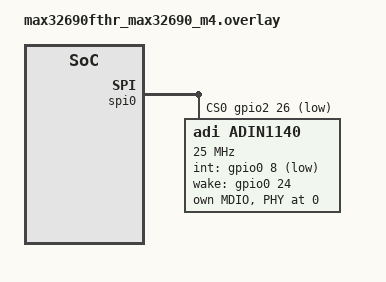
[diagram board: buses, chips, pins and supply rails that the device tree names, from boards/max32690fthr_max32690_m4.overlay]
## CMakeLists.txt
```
# SPDX-License-Identifier: Apache-2.0

cmake_minimum_required(VERSION 3.28.0)

find_package(Zephyr REQUIRED HINTS $ENV{ZEPHYR_BASE})
project(zperf)

target_sources(app PRIVATE
  src/main.c
  )

if(CONFIG_NET_SAMPLE_CODE_RELOCATE)
  # Relocate key networking stack components and L2 layer to RAM
  zephyr_code_relocate(LIBRARY subsys__net__ip
    LOCATION "${CONFIG_NET_SAMPLE_CODE_RAM_NAME}_TEXT" NOKEEP)
  zephyr_code_relocate(LIBRARY subsys__net
    LOCATION "${CONFIG_NET_SAMPLE_CODE_RAM_NAME}_TEXT" NOKEEP)
  if(CONFIG_NET_L2_ETHERNET)
    zephyr_code_relocate(LIBRARY drivers__ethernet
      LOCATION "${CONFIG_NET_SAMPLE_CODE_RAM_NAME}_TEXT" NOKEEP)
    zephyr_code_relocate(LIBRARY subsys__net__l2__ethernet
      LOCATION "${CONFIG_NET_SAMPLE_CODE_RAM_NAME}_TEXT" NOKEEP)
  endif()
endif()

if(CONFIG_USB_DEVICE_STACK_NEXT)
  include(${ZEPHYR_BASE}/samples/subsys/usb/common/common.cmake)
endif()

if(CONFIG_SOC_NRF5340_CPUAPP)
  target_sources(app PRIVATE
    src/nrf5340_cpu_boost.c
    )
endif()
```

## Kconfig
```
# Copyright 2023 NXP
# SPDX-License-Identifier: Apache-2.0

config NET_SAMPLE_CODE_RELOCATE
	bool "Relocate networking code into RAM"
	select CODE_DATA_RELOCATION
	help
	  Relocate networking code into RAM when running the zperf
	  sample. Can improve performance on platforms with fast code
	  RAM.

if NET_SAMPLE_CODE_RELOCATE

config NET_SAMPLE_CODE_RAM_NAME
	string "Networking code RAM location"
	default "RAM"
	help
	  Region to relocate networking code to

endif # NET_SAMPLE_CODE_RELOCATE

if USB_DEVICE_STACK_NEXT

# Source common USB sample options used to initialize new experimental USB
# device stack. The scope of these options is limited to USB samples in project
# tree, you cannot use them in your own application.
source "samples/subsys/usb/common/Kconfig.sample_usbd"

endif

configdefault NRF_WIFI_DATA_HEAP_SIZE
	default 30000 if NRF_WIFI_ZERO_COPY_TX
	default 50000

config ZPERF_LOOPBACK_SELFTEST
	bool "Self-driven loopback throughput run"
	depends on NET_ZPERF && NET_ZPERF_SERVER
	help
	  When enabled, the sample does not wait for shell input. Instead it
	  starts an in-guest UDP and TCP receiver on the loopback interface,
	  runs a client upload against it, and prints machine-parseable
	  throughput results ("ZPERF-RESULT ...") followed by a "ZPERF-DONE"
	  marker. Combined with QEMU icount mode this yields a deterministic,
	  host-speed-independent throughput regression metric.

if ZPERF_LOOPBACK_SELFTEST

config ZPERF_LOOPBACK_SELFTEST_DURATION_MS
	int "Loopback selftest transfer duration (ms)"
	default 1000
	help
	  Duration of each (UDP and TCP) upload run.

config ZPERF_LOOPBACK_SELFTEST_PACKET_SIZE
	int "Loopback selftest packet size (bytes)"
	default 1220
	range 1 16384
	help
	  Payload size used for each upload. Keep it small enough that the IP
	  packet (payload + IP + UDP headers) fits within CONFIG_NET_LOOPBACK_MTU
	  unless IP fragmentation is enabled, and below
	  CONFIG_NET_ZPERF_MAX_PACKET_SIZE. The default of 1220 is the IPv6 TCP
	  MSS at a 1280 byte MTU (1280 - 40 IPv6 - 20 TCP): with it every write
	  is one full-sized segment for both IPv4 and IPv6, so TCP throughput is
	  comparable across families. Larger values (e.g. 1232) still fit the
	  IPv4 MSS but exceed the IPv6 MSS, which splits each IPv6 write into a
	  full segment plus a tiny runt and roughly halves IPv6 TCP throughput.
	  Near-MTU packets also better expose data-touching costs (checksums,
	  buffer walking) than tiny packets.

config ZPERF_LOOPBACK_SELFTEST_FRAG_PACKET_SIZE
	int "Loopback selftest fragmented-run payload size (bytes)"
	default 2000
	range 1 16384
	help
	  Payload size for the extra UDP runs that intentionally exceed
	  CONFIG_NET_LOOPBACK_MTU to exercise IP fragmentation and reassembly.
	  These runs are only performed when CONFIG_NET_IPV4_FRAGMENT /
	  CONFIG_NET_IPV6_FRAGMENT are enabled. Keep it above the MTU (so the
	  datagram actually fragments) and below CONFIG_NET_ZPERF_MAX_PACKET_SIZE.

config ZPERF_LOOPBACK_SELFTEST_RATE_KBPS
	int "Loopback selftest target rate (kbps)"
	default 0
	help
	  Target upload rate in kbps. Use 0 to send as fast as possible (best
	  for measuring the maximum throughput / catching CPU-cost regressions).

config ZPERF_LOOPBACK_SELFTEST_PORT
	int "Loopback selftest server port"
	default 5001

config ZPERF_LOOPBACK_SELFTEST_ONLY
	string "Run only the named transfer"
	default ""
	help
	  Run a single transfer instead of all of them. The value is one of
	  the labels used in the ZPERF-RESULT output: udp4, udp4_frag, tcp4,
	  tcp4_nodelay, udp6, udp6_frag, tcp6 or tcp6_nodelay. An empty
	  value, the default, runs all of them and leaves the throughput
	  scenario unchanged. A value naming no transfer built into the
	  image runs none of them and reports the value as an error result.

	  Profiling the run needs one transfer at a time: a profile collected
	  over all eight blends UDP, TCP, fragmentation and both IP families
	  into an average that is attributable to none of them.

config ZPERF_LOOPBACK_SELFTEST_HALT_ON_DONE
	bool "Halt the machine once the selftest is done"
	help
	  Halt the machine after printing ZPERF-DONE instead of returning
	  from main() and idling forever. On qemu_x86 and qemu_x86_64 this
	  leaves the emulator through the isa-debug-exit device, which matters
	  when an external profiler is attached: QEMU writes an instrumentation
	  report from an atexit handler, and that handler never runs while the
	  guest idles. Whether the halt also ends the emulator on other boards
	  depends on their arch_system_halt().

endif # ZPERF_LOOPBACK_SELFTEST

source "Kconfig.zephyr"
```

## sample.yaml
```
common:
  tags:
    - net
    - zperf
  platform_exclude:
    - sam_e70_xplained/same70q21
  min_ram: 64
sample:
  description: Network performance measurement tool for Zephyr
  name: zperf
tests:
  sample.net.zperf:
    harness: net
    platform_allow: qemu_x86
  sample.net.zperf_no_server:
    harness: net
    platform_allow: qemu_x86
    extra_configs:
      - CONFIG_NET_ZPERF_SERVER=n
  sample.net.zperf.async_tx.stm32:
    filter: dt_compat_enabled("st,stm32-ethernet") and CONFIG_ETH_STM32_HAL_API_V2
    harness: console
    harness_config:
      type: multi_line
      regex:
        - "coming up"
    integration_platforms:
      - stm32h573i_dk
    extra_configs:
      - CONFIG_ETH_STM32_HAL_TX_ASYNC=y
  sample.net.zperf_st:
    harness: console
    harness_config:
      type: multi_line
      regex:
        - "coming up"
    platform_allow:
      - nucleo_h563zi
      - nucleo_h743zi
      - nucleo_h753zi
      - nucleo_f429zi
      - nucleo_f746zg
      - stm32h573i_dk
    integration_platforms:
      - stm32h573i_dk
  sample.net.zperf_st.otp_mac_addr:
    build_only: true
    platform_allow:
      - stm32n6570_dk/stm32n657xx/sb
    extra_args:
      - DTC_OVERLAY_FILE="boards/stm32n6570_dk_stm32n657xx_sb_otp.overlay"
  sample.net.zperf_no_shell:
    harness: net
    extra_configs:
      - CONFIG_NET_SHELL=n
    platform_allow: qemu_x86
  sample.net.zperf_concurrent_upload:
    harness: net
    extra_configs:
      - CONFIG_ZPERF_SESSION_PER_THREAD=y
    platform_allow: qemu_x86
  sample.net.zperf.usbd_cdc_ecm:
    harness: net
    extra_args:
      - EXTRA_CONF_FILE="overlay-usbd.conf"
      - DTC_OVERLAY_FILE="usbd_cdc_ecm.overlay"
    platform_allow:
      - nrf52840dk/nrf52840
      - frdm_k64f
    tags:
      - usb
      - net
      - zperf
    depends_on: usbd
  sample.net.zperf.usbd_cdc_ncm:
    harness: net
    extra_args:
      - EXTRA_CONF_FILE="overlay-usbd.conf"
      - DTC_OVERLAY_FILE="usbd_cdc_ncm.overlay"
    platform_allow:
      - nrf52840dk/nrf52840
      - frdm_k64f
    tags:
      - usb
      - net
      - zperf
    depends_on: usbd
  sample.net.zperf.shield:
    harness: net
    platform_allow: reel_board
    extra_args: SHIELD=link_board_eth
    tags:
      - shield
      - net
      - zperf
    depends_on:
      - arduino_spi
      - arduino_gpio
  sample.net.zperf.nxp_enet1g:
    extra_args: EXTRA_DTC_OVERLAY_FILE="nxp,enet1g.overlay"
    tags:
      - net
      - zperf
    platform_allow:
      - mimxrt1170_evk/mimxrt1176/cm7
  sample.net.zperf.802154.subg:
    extra_args: EXTRA_CONF_FILE="overlay-802154-subg.conf"
    platform_allow:
      - beagleconnect_freedom@C5/cc1352p
      - beagleconnect_freedom@C7/cc1352p7
  sample.net.zperf.nrf7002dk:
    extra_args: SNIPPET=wifi-ipv4
    extra_configs:
      - CONFIG_BUILD_ONLY_NO_BLOBS=y
    platform_allow: nrf7002dk/nrf5340/cpuapp
  sample.net.zperf.raw_tx:
    harness: net
    platform_allow: qemu_x86
    extra_configs:
      - CONFIG_NET_SOCKETS_PACKET=y
      - CONFIG_NET_ZPERF_RAW_TX=y
  sample.net.zperf.raw_tx.nrf7002dk:
    extra_args: SNIPPET=wifi-ipv4
    extra_configs:
      - CONFIG_BUILD_ONLY_NO_BLOBS=y
      - CONFIG_NET_SOCKETS_PACKET=y
      - CONFIG_NET_ZPERF_RAW_TX=y
    platform_allow: nrf7002dk/nrf5340/cpuapp
```

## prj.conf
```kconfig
CONFIG_NETWORKING=y
CONFIG_NET_ZPERF=y
CONFIG_NET_ZPERF_SERVER=y
CONFIG_NET_LOG=y
CONFIG_NET_IPV6=y
CONFIG_NET_IPV4=y
CONFIG_NET_DHCPV4=n
CONFIG_NET_UDP=y
CONFIG_NET_TCP=y
CONFIG_NET_TCP_IPV6_ND_REACHABILITY_HINT=y
CONFIG_NET_STATISTICS=y

CONFIG_NET_PKT_RX_COUNT=40
CONFIG_NET_PKT_TX_COUNT=40
CONFIG_NET_BUF_RX_COUNT=160
CONFIG_NET_BUF_TX_COUNT=160
CONFIG_NET_BUF_DATA_SIZE=256
CONFIG_NET_IF_UNICAST_IPV6_ADDR_COUNT=4
CONFIG_NET_IF_MCAST_IPV6_ADDR_COUNT=5
CONFIG_NET_IF_UNICAST_IPV4_ADDR_COUNT=1
CONFIG_NET_MAX_CONTEXTS=5
CONFIG_NET_TC_TX_COUNT=1
CONFIG_NET_SOCKETS=y
CONFIG_NET_SOCKETS_SERVICE_THREAD_PRIO=-1
CONFIG_ZVFS_POLL_MAX=9

CONFIG_INIT_STACKS=y
CONFIG_TEST_RANDOM_GENERATOR=y

CONFIG_NET_L2_ETHERNET=y
CONFIG_NET_SHELL=y

CONFIG_NET_CONFIG_SETTINGS=y
CONFIG_NET_CONFIG_MY_IPV6_ADDR="2001:db8::1"
CONFIG_NET_CONFIG_PEER_IPV6_ADDR="2001:db8::2"
CONFIG_NET_CONFIG_MY_IPV4_ADDR="192.0.2.1"
CONFIG_NET_CONFIG_PEER_IPV4_ADDR="192.0.2.2"

CONFIG_ETH_DRIVER=y

CONFIG_LOG=y
CONFIG_SHELL_CMDS_RESIZE=n

CONFIG_CACHE_MANAGEMENT=y
CONFIG_SPEED_OPTIMIZATIONS=y
CONFIG_TIMESLICING=n

# For speed optimizations
CONFIG_PICOLIBC_USE_MODULE=y
```

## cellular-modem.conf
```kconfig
# Cellular Modem
CONFIG_NET_L2_PPP=y
CONFIG_MODEM=y
CONFIG_MODEM_CELLULAR=y
```

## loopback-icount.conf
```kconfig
# Deterministic, host-speed-independent zperf throughput measurement.
#
# Layer this on top of loopback.conf, e.g.:
#   -DEXTRA_CONF_FILE="loopback.conf;loopback-icount.conf"
#
# All traffic stays inside the guest (loopback), so QEMU icount mode can be
# safely enabled. In icount mode the virtual CPU advances virtual time by
# 2^SHIFT ns per executed instruction, so the reported throughput becomes a
# deterministic function of instructions-per-byte instead of host wall clock.

# Force QEMU icount on. It is disabled by default when networking + shell are
# enabled, but with loopback-only traffic there is no real host I/O in the
# measurement path.
CONFIG_QEMU_ICOUNT=y
CONFIG_QEMU_ICOUNT_SHIFT=5
CONFIG_QEMU_ICOUNT_SLEEP=n

# icount only works with a single CPU.
CONFIG_MP_MAX_NUM_CPUS=1

# Use a 10 kHz kernel tick for fine-grained packet pacing.
CONFIG_SYS_CLOCK_TICKS_PER_SEC=10000

# Loopback-only: no QEMU SLIP/TAP host networking. This removes the external,
# real-time network backend that would otherwise make icount non-deterministic
# (and require a host-side slip.sock).
CONFIG_NET_QEMU_SLIP=n
CONFIG_NET_SLIP_TAP=n

# Self-driven loopback runner (see src/main.c). Avoids the interactive shell,
# which can stall under icount waiting on real-time stdin.
CONFIG_ZPERF_LOOPBACK_SELFTEST=y

# The results are printed with printk(), which the log subsystem forwards
# through its deferred backend. At the default 1024 byte buffer the qemu_x86_64
# run overflows it during the first IPv4 transfers and LOG_MODE_OVERFLOW drops
# the three oldest messages, which silently swallows the udp4_frag result line -
# the metric simply never appears in the report. Give the buffer enough room for
# the whole run. The measurement is unaffected: the 32 bit numbers are
# bit-identical with the larger buffer.
CONFIG_LOG_BUFFER_SIZE=4096

# The UDP uploader needs a receive timeout to collect the server statistics.
CONFIG_NET_CONTEXT_RCVTIMEO=y

# The zperf receivers register several sockets with the socket service; give
# zvfs_poll() enough slots for the TCP listener plus its sessions.
CONFIG_ZVFS_POLL_MAX=16

# The loopback driver delivers each packet synchronously in the sender's
# context, so the whole receive path (and, for this sample, the blocking client
# upload) runs on the caller's stack. Give the involved threads generous stacks
# to absorb that nesting; otherwise the guest overflows and faults at boot.
CONFIG_MAIN_STACK_SIZE=3072
CONFIG_SYSTEM_WORKQUEUE_STACK_SIZE=2560
CONFIG_NET_RX_STACK_SIZE=2560
CONFIG_NET_TX_STACK_SIZE=2560
CONFIG_NET_MGMT_EVENT_STACK_SIZE=2560
CONFIG_NET_SOCKETS_SERVICE_STACK_SIZE=2560

# Do not try to add IPv4/6 address to network interface but let the system
# use the localhost addresses.
CONFIG_NET_CONFIG_MY_IPV4_ADDR=""
CONFIG_NET_CONFIG_MY_IPV6_ADDR=""

# Disable statistics so that the stats collection will not lower the numbers.
CONFIG_NET_STATISTICS=n

# Push near-MTU-sized frames through the stack so the per-packet cost is
# dominated by data-touching work (checksums, buffer/fragment walking) rather
# than fixed per-call overhead. The selftest sends a 1220 byte payload (see the
# Kconfig default): that is the IPv6 TCP MSS at a 1280 byte MTU (1280 - 40 IPv6
# - 20 TCP), so every TCP write is a single full-sized segment for both IPv4 and
# IPv6 (avoiding a tiny trailing segment that would otherwise halve IPv6 TCP),
# and the UDP datagrams stay under the MTU for both families so no IP
# fragmentation is needed. Raise the loopback L3 MTU accordingly and lift
# zperf's own packet ceiling above the (larger, fragmenting) payload below.
CONFIG_NET_LOOPBACK_MTU=1280
CONFIG_NET_ZPERF_MAX_PACKET_SIZE=2100

# Keep the net_buf data size (1104, from loopback.conf) below the MTU so
# each 1280 byte packet spans two buffer fragments. This deliberately exercises
# the fragment-chain walk in net_pkt_get_len() and friends.

# Exercise the IP fragmentation + reassembly subsystem: the runner adds an extra
# UDP run per family whose payload (see ZPERF_LOOPBACK_SELFTEST_FRAG_PACKET_SIZE)
# exceeds the MTU, so ipv4.c/ipv6.c must fragment on TX and reassemble on RX.
# Loopback normally delivers such a datagram whole without running the IP send
# checks, so NET_LOOPBACK_FRAGMENT is needed for it to be fragmented at all.
CONFIG_NET_IPV4_FRAGMENT=y
CONFIG_NET_IPV6_FRAGMENT=y
CONFIG_NET_LOOPBACK_FRAGMENT=y

# Exercise traffic classes and SO_PRIORITY: with more than one TX/RX queue the
# stack routes prioritised traffic through dedicated per-traffic-class threads
# (net_tc.c) instead of the caller's context. The runner sets a non-default
# priority on every upload so this path is always taken.
CONFIG_NET_TC_TX_COUNT=2
CONFIG_NET_TC_RX_COUNT=2
CONFIG_NET_CONTEXT_PRIORITY=y
CONFIG_NET_ALLOW_ANY_PRIORITY=y
```

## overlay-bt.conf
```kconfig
CONFIG_BT=y
CONFIG_LOG=y
CONFIG_BT_SMP=y
CONFIG_BT_PERIPHERAL=y
CONFIG_BT_CENTRAL=y
CONFIG_BT_L2CAP_DYNAMIC_CHANNEL=y
CONFIG_NET_L2_BT=y
CONFIG_NET_L2_BT_SHELL=y
CONFIG_SHELL_CMDS_RESIZE=n
```

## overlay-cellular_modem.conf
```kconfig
CONFIG_NET_L2_PPP=y

CONFIG_MODEM=y
CONFIG_PM_DEVICE=y
CONFIG_MODEM_CELLULAR=y
```

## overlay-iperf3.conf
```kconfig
# Speak iperf3 instead of iperf2. The zperf commands stay the same, and
# the default port becomes 5201.
CONFIG_NET_ZPERF_IPERF3=y

# An iperf3 test takes a control connection and a data stream on each
# end, on top of the server's listening sockets, and closed connections
# linger in TIME_WAIT for a while after each test.
CONFIG_NET_MAX_CONTEXTS=16
CONFIG_NET_MAX_CONN=16
```

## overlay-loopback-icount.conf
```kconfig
# Deterministic, host-speed-independent zperf throughput measurement.
#
# Layer this on top of overlay-loopback.conf, e.g.:
#   -DEXTRA_CONF_FILE="overlay-loopback.conf;overlay-loopback-icount.conf"
#
# All traffic stays inside the guest (loopback), so QEMU icount mode can be
# safely enabled. In icount mode the virtual CPU advances virtual time by
# 2^SHIFT ns per executed instruction, so the reported throughput becomes a
# deterministic function of instructions-per-byte instead of host wall clock.

# Force QEMU icount on. It is disabled by default when networking + shell are
# enabled, but with loopback-only traffic there is no real host I/O in the
# measurement path.
CONFIG_QEMU_ICOUNT=y
CONFIG_QEMU_ICOUNT_SHIFT=5
CONFIG_QEMU_ICOUNT_SLEEP=n

# icount only works with a single CPU.
CONFIG_MP_MAX_NUM_CPUS=1

# Run the kernel tick at 10 kHz. The default qemu_x86 rate is 100 Hz, which
# (a) compiles in the UDP uploader's clock-compensation path that divides by
# the per-packet duration - a division by zero once the unlimited rate drives
# that duration to 0 - and (b) is far too coarse to pace traffic. A >1 kHz tick
# removes the compensation path and gives fine-grained timing.
CONFIG_SYS_CLOCK_TICKS_PER_SEC=10000

# Loopback-only: no QEMU SLIP/TAP host networking. This removes the external,
# real-time network backend that would otherwise make icount non-deterministic
# (and require a host-side slip.sock).
CONFIG_NET_QEMU_SLIP=n
CONFIG_NET_SLIP_TAP=n

# Self-driven loopback runner (see src/main.c). Avoids the interactive shell,
# which can stall under icount waiting on real-time stdin.
CONFIG_ZPERF_LOOPBACK_SELFTEST=y

# The results are printed with printk(), which the log subsystem forwards
# through its deferred backend. At the default 1024 byte buffer the qemu_x86_64
# run overflows it during the first IPv4 transfers and LOG_MODE_OVERFLOW drops
# the three oldest messages, which silently swallows the udp4_frag result line -
# the metric simply never appears in the report. Give the buffer enough room for
# the whole run. The measurement is unaffected: the 32 bit numbers are
# bit-identical with the larger buffer.
CONFIG_LOG_BUFFER_SIZE=4096

# The UDP uploader needs a receive timeout to collect the server statistics.
CONFIG_NET_CONTEXT_RCVTIMEO=y

# The zperf receivers register several sockets with the socket service; give
# zvfs_poll() enough slots for the TCP listener plus its sessions.
CONFIG_ZVFS_POLL_MAX=16

# The loopback driver delivers each packet synchronously in the sender's
# context, so the whole receive path (and, for this sample, the blocking client
# upload) runs on the caller's stack. Give the involved threads generous stacks
# to absorb that nesting; otherwise the guest overflows and faults at boot.
CONFIG_MAIN_STACK_SIZE=3072
CONFIG_SYSTEM_WORKQUEUE_STACK_SIZE=2560
CONFIG_NET_RX_STACK_SIZE=2560
CONFIG_NET_TX_STACK_SIZE=2560
CONFIG_NET_MGMT_EVENT_STACK_SIZE=2560
CONFIG_NET_SOCKETS_SERVICE_STACK_SIZE=2560

# Do not try to add IPv4/6 address to network interface but let the system
# use the localhost addresses.
CONFIG_NET_CONFIG_MY_IPV4_ADDR=""
CONFIG_NET_CONFIG_MY_IPV6_ADDR=""

# Disable statistics so that the stats collection will not lower the numbers.
CONFIG_NET_STATISTICS=n

# Push near-MTU-sized frames through the stack so the per-packet cost is
# dominated by data-touching work (checksums, buffer/fragment walking) rather
# than fixed per-call overhead. The selftest sends a 1220 byte payload (see the
# Kconfig default): that is the IPv6 TCP MSS at a 1280 byte MTU (1280 - 40 IPv6
# - 20 TCP), so every TCP write is a single full-sized segment for both IPv4 and
# IPv6 (avoiding a tiny trailing segment that would otherwise halve IPv6 TCP),
# and the UDP datagrams stay under the MTU for both families so no IP
# fragmentation is needed. Raise the loopback L3 MTU accordingly and lift
# zperf's own packet ceiling above the (larger, fragmenting) payload below.
CONFIG_NET_LOOPBACK_MTU=1280
CONFIG_NET_ZPERF_MAX_PACKET_SIZE=2100

# Keep the net_buf data size (1104, from overlay-loopback.conf) below the MTU so
# each 1280 byte packet spans two buffer fragments. This deliberately exercises
# the fragment-chain walk in net_pkt_get_len() and friends.

# Exercise the IP fragmentation + reassembly subsystem: the runner adds an extra
# UDP run per family whose payload (see ZPERF_LOOPBACK_SELFTEST_FRAG_PACKET_SIZE)
# exceeds the MTU, so ipv4.c/ipv6.c must fragment on TX and reassemble on RX.
# Loopback normally delivers such a datagram whole without running the IP send
# checks, so NET_LOOPBACK_FRAGMENT is needed for it to be fragmented at all.
CONFIG_NET_IPV4_FRAGMENT=y
CONFIG_NET_IPV6_FRAGMENT=y
CONFIG_NET_LOOPBACK_FRAGMENT=y

# Exercise traffic classes and SO_PRIORITY: with more than one TX/RX queue the
# stack routes prioritised traffic through dedicated per-traffic-class threads
# (net_tc.c) instead of the caller's context. The runner sets a non-default
# priority on every upload so this path is always taken.
CONFIG_NET_TC_TX_COUNT=2
CONFIG_NET_TC_RX_COUNT=2
CONFIG_NET_CONTEXT_PRIORITY=y
CONFIG_NET_ALLOW_ANY_PRIORITY=y
```

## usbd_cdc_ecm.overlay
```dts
/*
 * Copyright (c) 2023 Nordic Semiconductor ASA
 *
 * SPDX-License-Identifier: Apache-2.0
 */

/ {
	cdc_ecm_eth0: cdc_ecm_eth0 {
		compatible = "zephyr,cdc-ecm-ethernet";
	};
};
```

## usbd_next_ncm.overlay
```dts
/*
 * Copyright (c) 2024 Nordic Semiconductor ASA
 *
 * SPDX-License-Identifier: Apache-2.0
 */

/ {
	cdc_ncm_eth0: cdc_ncm_eth0 {
		compatible = "zephyr,cdc-ncm-ethernet";
		remote-mac-address = "00005E005301";
	};
};
```

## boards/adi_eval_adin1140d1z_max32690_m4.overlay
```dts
/*
 * Copyright (c) 2026 Analog Devices, Inc.
 *
 * SPDX-License-Identifier: Apache-2.0
 */

/ {
	chosen {
		/* Use 512KB SRAM for network stack */
		zephyr,sram = &sram0;
	};

	soc {
		/* Combine SRAM banks 0-3 into one contiguous 512KB region */
		sram0: memory@20000000 {
			compatible = "mmio-sram";
			reg = <0x20000000 DT_SIZE_K(512)>;
		};
	};
};
```

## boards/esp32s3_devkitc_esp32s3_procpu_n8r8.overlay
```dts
/*
 * Copyright (c) 2026 Henry Zhang
 * SPDX-License-Identifier: Apache-2.0
 */

/* N8R8 module: 8 MB octal PSRAM */
&psram0 {
	size = <DT_SIZE_M(8)>;
};
```

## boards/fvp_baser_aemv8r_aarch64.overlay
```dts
/*
 * Copyright 2025 Arm Limited and/or its affiliates <open-source-office@arm.com>
 *
 * SPDX-License-Identifier: Apache-2.0
 */

&eth {
	status = "okay";
};

&phy {
	status = "okay";
};

&mdio {
	status = "okay";
};
```

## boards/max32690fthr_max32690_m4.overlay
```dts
/*
 * Copyright (c) 2026 Analog Devices, Inc.
 *
 * SPDX-License-Identifier: Apache-2.0
 */

/ {
	chosen {
		/* Use 512KB SRAM for network stack */
		zephyr,sram = &sram0;
	};

	soc {
		/* Combine SRAM banks 0-3 into one contiguous region */
		sram0: memory@20000000 {
			compatible = "mmio-sram";
			reg = <0x20000000 DT_SIZE_K(512)>;
		};
	};
};

&spi0b_mosi_p2_28 {
	power-source = <MAX32_VSEL_VDDIOH>;
};

&spi0b_miso_p2_27 {
	power-source = <MAX32_VSEL_VDDIOH>;
};

&spi0b_sck_p2_29 {
	power-source = <MAX32_VSEL_VDDIOH>;
};

&spi0a_ss0_p0_22 {
	power-source = <MAX32_VSEL_VDDIOH>;
};

&spi0 {
	status = "okay";
	cs-gpios = <&gpio2 26 (GPIO_ACTIVE_LOW | MAX32_GPIO_VSEL_VDDIOH)>;

	adin1140@0 {
		compatible = "adi,adin1140";
		reg = <0x0>;
		spi-max-frequency = <DT_FREQ_M(25)>;
		int-gpios = <&gpio0 8 (GPIO_ACTIVE_LOW | MAX32_GPIO_VSEL_VDDIOH | GPIO_PULL_UP)>;
		wake-gpios = <&gpio0 24 (GPIO_ACTIVE_HIGH | MAX32_GPIO_VSEL_VDDIOH)>;
		status = "okay";
		local-mac-address = [00 e0 22 fe da d0];
		phy-handle = <&adin1140_phy>;

		mdio {
			compatible = "adi,adin1140-mdio";
			#address-cells = <1>;
			#size-cells = <0>;

			adin1140_phy: ethernet-phy@0 {
				reg = <0x0>;
				compatible = "adi,adin1140-phy";
				/* PLCA disabled; params below apply only when enabled.
				 * Add "plca-enable;" to turn PLCA on.
				 */
				plca-node-id = <0>;
				plca-node-count = <5>;
				plca-burst-count = <0>;
				plca-burst-timer = <0x60>;
				plca-to-timer = <0x20>;
			};
		};
	};
};
```

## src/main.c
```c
/*
 * Copyright (c) 2020 Nordic Semiconductor ASA
 *
 * SPDX-License-Identifier: Apache-2.0
 */

/**
 * @file
 * @brief Zperf sample.
 */
#include <string.h>

#include <zephyr/kernel.h>
#include <zephyr/usb/usbd.h>
#include <zephyr/net/net_config.h>

#if defined(CONFIG_USB_HOST_STACK)
#include <zephyr/device.h>
#include <zephyr/usb/usbh.h>

USBH_CONTROLLER_DEFINE(uhs_ctx, DEVICE_DT_GET(DT_NODELABEL(zephyr_uhc0)));
#endif

LOG_MODULE_REGISTER(zperf, CONFIG_NET_ZPERF_LOG_LEVEL);

#ifdef CONFIG_NET_LOOPBACK_SIMULATE_PACKET_DROP
#include <zephyr/net/loopback.h>
#endif

#if defined(CONFIG_USB_DEVICE_STACK_NEXT)
#include <sample_usbd.h>
#endif

#if defined(CONFIG_ZPERF_LOOPBACK_SELFTEST)
#include <zephyr/fatal.h>
#include <zephyr/net/net_ip.h>
#include <zephyr/net/zperf.h>

#define SELFTEST_PORT        CONFIG_ZPERF_LOOPBACK_SELFTEST_PORT
#define SELFTEST_DURATION_MS CONFIG_ZPERF_LOOPBACK_SELFTEST_DURATION_MS
#define SELFTEST_PACKET_SIZE CONFIG_ZPERF_LOOPBACK_SELFTEST_PACKET_SIZE
#define SELFTEST_RATE_KBPS   CONFIG_ZPERF_LOOPBACK_SELFTEST_RATE_KBPS
#define SELFTEST_FRAG_PACKET_SIZE CONFIG_ZPERF_LOOPBACK_SELFTEST_FRAG_PACKET_SIZE
#define SELFTEST_ONLY        CONFIG_ZPERF_LOOPBACK_SELFTEST_ONLY

/* Non-default socket priority applied to every upload so that, when more than
 * one traffic class is configured, traffic is routed through the per-traffic-
 * class threads (net_tc.c) instead of the caller's context. Set to -1 (i.e. do
 * not set SO_PRIORITY) when priority support is not compiled in.
 */
#if defined(CONFIG_NET_CONTEXT_PRIORITY)
#define SELFTEST_PRIORITY NET_PRIORITY_VI
#else
#define SELFTEST_PRIORITY (-1)
#endif

/* Loopback addresses used for both the server bind and the client connect.
 * The loopback driver assigns 127.0.0.1 and ::1 to the loopback interface, so
 * both are valid local endpoints.
 */
#define SELFTEST_IPV4_ADDR   "127.0.0.1"
#define SELFTEST_IPV6_ADDR   "::1"

/* When the configured rate is 0 (unlimited), the runner picks a rate high
 * enough that the per-packet pacing delay in the UDP uploader rounds down to
 * zero, so the client sends as fast as the (virtual) CPU allows. The computed
 * rate (in kbps) is stored in a uint32_t field, so it must fit; the math below
 * is done in 64-bit to avoid an intermediate overflow. This bounds the usable
 * packet size at roughly 500 kB, far above any realistic MTU.
 */
BUILD_ASSERT(((uint64_t)SELFTEST_PACKET_SIZE * 8U * 1000000U) / 1024U + 1U <=
		     UINT32_MAX,
	     "Unlimited-rate loopback selftest packet size overflows rate_kbps");
BUILD_ASSERT(((uint64_t)SELFTEST_FRAG_PACKET_SIZE * 8U * 1000000U) / 1024U + 1U <=
		     UINT32_MAX,
	     "Unlimited-rate loopback selftest frag packet size overflows rate_kbps");

static void selftest_session_cb(enum zperf_status status,
				struct zperf_results *result,
				void *user_data)
{
	ARG_UNUSED(status);
	ARG_UNUSED(result);
	ARG_UNUSED(user_data);
}

/* Fill a socket address with the loopback endpoint for the given family. */
static void selftest_fill_addr(struct net_sockaddr *addr, int family)
{
	if (family == NET_AF_INET6) {
		struct net_sockaddr_in6 *a6 = net_sin6(addr);

		memset(a6, 0, sizeof(*a6));
		a6->sin6_family = NET_AF_INET6;
		a6->sin6_port = net_htons(SELFTEST_PORT);
		(void)net_addr_pton(NET_AF_INET6, SELFTEST_IPV6_ADDR,
				    &a6->sin6_addr);
	} else {
		struct net_sockaddr_in *a4 = net_sin(addr);

		memset(a4, 0, sizeof(*a4));
		a4->sin_family = NET_AF_INET;
		a4->sin_port = net_htons(SELFTEST_PORT);
		(void)net_addr_pton(NET_AF_INET, SELFTEST_IPV4_ADDR,
				    &a4->sin_addr);
	}
}

static void selftest_fill_upload(struct zperf_upload_params *param, int family,
				 uint32_t packet_size, bool tcp_nodelay)
{
	uint32_t rate_kbps = SELFTEST_RATE_KBPS;

	if (rate_kbps == 0U) {
		/* Force packet_duration_us == 0, i.e. no pacing. Compute in
		 * 64-bit to avoid overflowing the intermediate product for
		 * near-MTU packet sizes, then store the (small enough) result.
		 */
		rate_kbps = (uint32_t)(((uint64_t)packet_size * 8U *
					1000000U) / 1024U + 1U);
	}

	memset(param, 0, sizeof(*param));
	selftest_fill_addr(net_sad(&param->peer_addr_storage), family);
	param->duration_ms = SELFTEST_DURATION_MS;
	param->packet_size = packet_size;
	param->rate_kbps = rate_kbps;
	param->unix_offset_us = (uint64_t)k_uptime_get() * USEC_PER_MSEC;
	param->options.priority = SELFTEST_PRIORITY;
	param->options.tcp_nodelay = tcp_nodelay ? 1 : 0;
}

/* Machine-parseable throughput line for the twister console harness. */
static void selftest_report(const char *proto, struct zperf_results *res)
{
	uint64_t kbps = 0U;

	if (res->client_time_in_us != 0U) {
		kbps = ((uint64_t)res->nb_packets_sent *
			(uint64_t)res->packet_size * 8U * USEC_PER_SEC) /
		       ((uint64_t)res->client_time_in_us * 1000U);
	}

	printk("ZPERF-RESULT %s_mbps=%u.%03u\n", proto,
	       (uint32_t)(kbps / 1000U), (uint32_t)(kbps % 1000U));

	/* The payload byte count and the elapsed time behind the throughput
	 * figure above, which a profiler needs to normalise a run into
	 * instructions per byte.
	 *
	 * Only the single-transfer builds a profiler drives print it. printk()
	 * is routed through the deferred logging subsystem here
	 * (CONFIG_LOG_PRINTK), and its buffer is small enough that one more
	 * message per transfer can push an earlier ZPERF-RESULT line out of it,
	 * losing a metric from the throughput recording. SELFTEST_ONLY is a
	 * string literal, so this whole block folds away when no single
	 * transfer is selected, leaving the default build untouched.
	 *
	 * The separate ZPERF-INFO prefix matters too: the regression helper
	 * reports a key present on only one side of a comparison as missing and
	 * fails, so these must stay out of the recorded ZPERF-RESULT namespace.
	 */
	if (SELFTEST_ONLY[0] != '\0') {
		printk("ZPERF-INFO %s_bytes=%llu %s_us=%llu\n", proto,
		       (unsigned long long)res->nb_packets_sent *
		       (unsigned long long)res->packet_size,
		       proto, (unsigned long long)res->client_time_in_us);
	}
}

/* Set once a transfer matches CONFIG_ZPERF_LOOPBACK_SELFTEST_ONLY. */
static bool selftest_only_matched;

/* Whether the transfer reported under the given label is selected by
 * CONFIG_ZPERF_LOOPBACK_SELFTEST_ONLY. An empty setting selects every transfer,
 * a setting matching no label selects none.
 */
static bool selftest_selected(const char *label)
{
	if (SELFTEST_ONLY[0] == '\0') {
		return true;
	}

	if (strcmp(SELFTEST_ONLY, label) != 0) {
		return false;
	}

	selftest_only_matched = true;

	return true;
}

static int selftest_run_udp(int family, const char *label, uint32_t packet_size)
{
	struct zperf_download_params dl = { .port = SELFTEST_PORT };
	struct zperf_upload_params ul;
	struct zperf_results res = { 0 };
	int ret;

	if (!selftest_selected(label)) {
		return 0;
	}

	/* Bind the receiver to the loopback address so the client can reach it
	 * (in particular ::1, which is not the interface's default address).
	 */
	selftest_fill_addr(&dl.addr, family);

	ret = zperf_udp_download(&dl, selftest_session_cb, NULL);
	if (ret < 0) {
		return ret;
	}

	selftest_fill_upload(&ul, family, packet_size, false);
	ret = zperf_udp_upload(&ul, &res);
	(void)zperf_udp_download_stop();
	if (ret < 0) {
		return ret;
	}

	selftest_report(label, &res);

	return 0;
}

static int selftest_run_tcp(int family, const char *label, bool tcp_nodelay)
{
	struct zperf_download_params dl = { .port = SELFTEST_PORT };
	struct zperf_upload_params ul;
	struct zperf_results res = { 0 };
	int ret;

	if (!selftest_selected(label)) {
		return 0;
	}

	selftest_fill_addr(&dl.addr, family);

	ret = zperf_tcp_download(&dl, selftest_session_cb, NULL);
	if (ret < 0) {
		return ret;
	}

	selftest_fill_upload(&ul, family, SELFTEST_PACKET_SIZE, tcp_nodelay);
	ret = zperf_tcp_upload(&ul, &res);
	(void)zperf_tcp_download_stop();
	if (ret < 0) {
		return ret;
	}

	selftest_report(label, &res);

	return 0;
}

/* Whether the extra, intentionally-fragmenting UDP run should be performed for
 * the given family (needs the matching IP fragmentation support compiled in).
 */
static bool selftest_frag_enabled(int family)
{
	if (family == NET_AF_INET6) {
		return IS_ENABLED(CONFIG_NET_IPV6_FRAGMENT);
	}

	return IS_ENABLED(CONFIG_NET_IPV4_FRAGMENT);
}

static void selftest_run_family(int family, const char *udp_label,
				const char *udp_frag_label,
				const char *tcp_label,
				const char *tcp_nodelay_label)
{
	int ret;

	ret = selftest_run_udp(family, udp_label, SELFTEST_PACKET_SIZE);
	if (ret < 0) {
		printk("ZPERF-RESULT %s_mbps=error(%d)\n", udp_label, ret);
	}

	/* Oversized datagram: forces IP fragmentation on TX and reassembly on
	 * RX. Only meaningful when fragmentation is compiled in.
	 */
	if (selftest_frag_enabled(family)) {
		ret = selftest_run_udp(family, udp_frag_label,
				       SELFTEST_FRAG_PACKET_SIZE);
		if (ret < 0) {
			printk("ZPERF-RESULT %s_mbps=error(%d)\n",
			       udp_frag_label, ret);
		}
	}

	ret = selftest_run_tcp(family, tcp_label, false);
	if (ret < 0) {
		printk("ZPERF-RESULT %s_mbps=error(%d)\n", tcp_label, ret);
	}

	/* Same transfer with Nagle disabled to cover the TCP_NODELAY send path. */
	ret = selftest_run_tcp(family, tcp_nodelay_label, true);
	if (ret < 0) {
		printk("ZPERF-RESULT %s_mbps=error(%d)\n", tcp_nodelay_label,
		       ret);
	}
}

static void run_loopback_selftest(void)
{
	if (IS_ENABLED(CONFIG_NET_IPV4)) {
		selftest_run_family(NET_AF_INET, "udp4", "udp4_frag", "tcp4",
				    "tcp4_nodelay");
	}

	if (IS_ENABLED(CONFIG_NET_IPV6)) {
		selftest_run_family(NET_AF_INET6, "udp6", "udp6_frag", "tcp6",
				    "tcp6_nodelay");
	}

	/* A setting that names no transfer built into this image would
	 * otherwise end the run without a single result line.
	 */
	if (SELFTEST_ONLY[0] != '\0' && !selftest_only_matched) {
		printk("ZPERF-RESULT %s_mbps=error(%d)\n", SELFTEST_ONLY, -ENOENT);
	}

	printk("ZPERF-DONE\n");

	if (IS_ENABLED(CONFIG_ZPERF_LOOPBACK_SELFTEST_HALT_ON_DONE)) {
		/* Let the console drain before the machine goes away. The sleep
		 * costs no instructions: the CPU halts and, under QEMU icount,
		 * virtual time warps to the next timer event.
		 */
		k_sleep(K_MSEC(50));
		k_fatal_halt(K_ERR_KERNEL_PANIC);
	}
}
#endif /* CONFIG_ZPERF_LOOPBACK_SELFTEST */

int main(void)
{
#if defined(CONFIG_USB_HOST_STACK)
	int err;

	err = usbh_init(&uhs_ctx);
	if (err) {
		return err;
	}

	err = usbh_enable(&uhs_ctx);
	if (err) {
		return err;
	}
#endif

#if defined(CONFIG_USB_DEVICE_STACK_NEXT)
	struct usbd_context *sample_usbd;
	int err;

	sample_usbd = sample_usbd_init_device(NULL);
	if (sample_usbd == NULL) {
		return -ENODEV;
	}

	err = usbd_enable(sample_usbd);
	if (err) {
		return err;
	}

	(void)net_config_init_app(NULL, "Initializing network");
#endif /* CONFIG_USB_DEVICE_STACK_NEXT */

#ifdef CONFIG_NET_LOOPBACK_SIMULATE_PACKET_DROP
	loopback_set_packet_drop_ratio(1);
#endif

	if (net_if_get_default() == NULL) {
		LOG_ERR("No network interface to work with");
		return -ENODEV;
	}

#if defined(CONFIG_NET_DHCPV4) && !defined(CONFIG_NET_CONFIG_SETTINGS)
	net_dhcpv4_start(net_if_get_default());
#endif

#if defined(CONFIG_ZPERF_LOOPBACK_SELFTEST)
	run_loopback_selftest();
#endif /* CONFIG_ZPERF_LOOPBACK_SELFTEST */

	return 0;
}
```

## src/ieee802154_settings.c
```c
/* Workaround build system bug that will put objects in source dir */
#include "../../common/ieee802154_settings.c"
```

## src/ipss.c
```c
/* Workaround build system bug that will put objects in source dir */
#include "../../../bluetooth/gatt/ipss.c"
```

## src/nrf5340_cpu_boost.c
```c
/*
 * Copyright (c) 2025 Nordic Semiconductor ASA
 *
 * SPDX-License-Identifier: Apache-2.0
 */

/**
 * @file
 * @brief CPU frequency boost for nRF53 series
 */

#include <zephyr/kernel.h>
#include <zephyr/logging/log.h>
#include <zephyr/drivers/clock_control/nrf_clock_control.h>

#define HFCLK_REQUESTED_FREQUENCY MHZ(128)

LOG_MODULE_DECLARE(zperf, CONFIG_NET_ZPERF_LOG_LEVEL);

static int nrf53_cpu_boost(void)
{
	int err = 0;

	/* For optimal performance, the CPU frequency should be set to 128 MHz */
	err = clock_control_set_rate(DEVICE_DT_GET_ONE(nordic_nrf_clock_hfclk), NULL,
				     (clock_control_subsys_rate_t)HFCLK_REQUESTED_FREQUENCY);

	if (err != 0) {
		LOG_WRN("Failed to set 128 MHz: %d", err);
	}

	LOG_INF("Starting %s with CPU frequency: %d MHz", CONFIG_BOARD, SystemCoreClock/MHZ(1));

	return err;
}

SYS_INIT(nrf53_cpu_boost, POST_KERNEL, CONFIG_KERNEL_INIT_PRIORITY_DEFAULT);
```

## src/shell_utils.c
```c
/*
 * Copyright (c) 2016 Intel Corporation
 *
 * SPDX-License-Identifier: Apache-2.0
 */

#include <ctype.h>
#include <zephyr/sys/printk.h>
#include <stdio.h>
#include <stdlib.h>
#include <string.h>
#include <strings.h>
#include <zephyr/zephyr.h>

#include "shell_utils.h"

const uint32_t TIME_US[] = { 60 * 1000 * 1000, 1000 * 1000, 1000, 0 };
const char *TIME_US_UNIT[] = { "m", "s", "ms", "us" };
const uint32_t KBPS[] = { 1024, 0 };
const char *KBPS_UNIT[] = { "Mbps", "Kbps" };
const uint32_t K[] = { 1024 * 1024, 1024, 0 };
const char *K_UNIT[] = { "M", "K", "" };

void print_number(const struct shell *shell, uint32_t value,
		  const uint32_t *divisor, const char **units)
{
	const char **unit;
	const uint32_t *div;
	uint32_t dec, radix;

	unit = units;
	div = divisor;

	while (value < *div) {
		div++;
		unit++;
	}

	if (*div != 0U) {
		radix = value / *div;
		dec = (value % *div) * 100U / *div;
		shell_fprintf(shell, SHELL_NORMAL, "%u.%s%u %s", radix,
			      (dec < 10) ? "0" : "", dec, *unit);
	} else {
		shell_fprintf(shell, SHELL_NORMAL, "%u %s", value, *unit);
	}
}

long parse_number(const char *string, const uint32_t *divisor,
		const char **units)
{
	const char **unit;
	const uint32_t *div;
	char *suffix;
	long dec;
	int cmp;

	dec = strtoul(string, &suffix, 10);
	unit = units;
	div = divisor;

	do {
		cmp = strncasecmp(suffix, *unit++, 1);
	} while (cmp != 0 && *++div != 0U);

	return (*div == 0U) ? dec : dec * *div;
}
```

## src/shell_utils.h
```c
/*
 * Copyright (c) 2016 Intel Corporation
 *
 * SPDX-License-Identifier: Apache-2.0
 */
#ifndef __SHELL_UTILS_H
#define __SHELL_UTILS_H

#include <zephyr/shell/shell.h>

#define IPV4_STR_LEN_MAX 15
#define IPV4_STR_LEN_MIN 7

extern const uint32_t TIME_US[];
extern const char *TIME_US_UNIT[];
extern const uint32_t KBPS[];
extern const char *KBPS_UNIT[];
extern const uint32_t K[];
extern const char *K_UNIT[];

extern void print_number(const struct shell *sh, uint32_t value,
			 const uint32_t *divisor, const char **units);
extern long parse_number(const char *string, const uint32_t *divisor,
			 const char **units);
#endif /* __SHELL_UTILS_H */
```

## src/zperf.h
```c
/*
 * Copyright (c) 2016 Intel Corporation
 *
 * SPDX-License-Identifier: Apache-2.0
 */
#ifndef __ZPERF_H
#define __ZPERF_H

#define VERSION "1.1"

struct zperf_results {
	uint32_t nb_packets_sent;
	uint32_t nb_packets_rcvd;
	uint32_t nb_packets_lost;
	uint32_t nb_packets_outorder;
	uint32_t nb_bytes_sent;
	uint32_t time_in_us;
	uint32_t jitter_in_us;
	uint32_t client_time_in_us;
	uint32_t packet_size;
	uint32_t nb_packets_errors;
};

typedef void (*zperf_callback)(int status, struct zperf_results *);

#define IPV4_STR_LEN_MAX 15
#define IPV4_STR_LEN_MIN 7

#endif /* __ZPERF_H */
```

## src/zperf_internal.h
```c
/*
 * Copyright (c) 2016 Intel Corporation
 *
 * SPDX-License-Identifier: Apache-2.0
 */
#ifndef __ZPERF_INTERNAL_H
#define __ZPERF_INTERNAL_H

#include <limits.h>
#include <zephyr/net/net_ip.h>
#include <zephyr/shell/shell.h>

#define IP6PREFIX_STR2(s) #s
#define IP6PREFIX_STR(p) IP6PREFIX_STR2(p)

#define MY_PREFIX_LEN 64
#define MY_PREFIX_LEN_STR IP6PREFIX_STR(MY_PREFIX_LEN)

/* Note that you can set local endpoint address in config file */
#if defined(CONFIG_NET_IPV6) && defined(CONFIG_NET_CONFIG_SETTINGS)
#define MY_IP6ADDR CONFIG_NET_CONFIG_MY_IPV6_ADDR
#define DST_IP6ADDR CONFIG_NET_CONFIG_PEER_IPV6_ADDR
#define MY_IP6ADDR_SET
#else
#define MY_IP6ADDR NULL
#define DST_IP6ADDR NULL
#endif

#if defined(CONFIG_NET_IPV4) && defined(CONFIG_NET_CONFIG_SETTINGS)
#define MY_IP4ADDR CONFIG_NET_CONFIG_MY_IPV4_ADDR
#define DST_IP4ADDR CONFIG_NET_CONFIG_PEER_IPV4_ADDR
#define MY_IP4ADDR_SET
#else
#define MY_IP4ADDR NULL
#define DST_IP4ADDR NULL
#endif

#define PACKET_SIZE_MAX      1024

struct zperf_udp_datagram {
	int32_t id;
	uint32_t tv_sec;
	uint32_t tv_usec;
} __packed;

struct zperf_client_hdr_v1 {
	int32_t flags;
	int32_t num_of_threads;
	int32_t port;
	int32_t buffer_len;
	int32_t bandwidth;
	int32_t num_of_bytes;
};

struct zperf_server_hdr {
	int32_t flags;
	int32_t total_len1;
	int32_t total_len2;
	int32_t stop_sec;
	int32_t stop_usec;
	int32_t error_cnt;
	int32_t outorder_cnt;
	int32_t datagrams;
	int32_t jitter1;
	int32_t jitter2;
};

static inline uint32_t time_delta(uint32_t ts, uint32_t t)
{
	return (t >= ts) ? (t - ts) : (ULONG_MAX - ts + t);
}

int zperf_get_ipv6_addr(const struct shell *sh, char *host,
			char *prefix_str, struct in6_addr *addr);
struct sockaddr_in6 *zperf_get_sin6(void);

int zperf_get_ipv4_addr(const struct shell *sh, char *host,
			struct in_addr *addr);
struct sockaddr_in *zperf_get_sin(void);

extern void zperf_udp_upload(const struct shell *sh,
			     int sock,
			     int port,
			     unsigned int duration_in_ms,
			     unsigned int packet_size,
			     unsigned int rate_in_kbps,
			     struct zperf_results *results);

extern void zperf_udp_receiver_init(const struct shell *sh, int port);

extern void zperf_tcp_receiver_init(const struct shell *sh, int port);
extern void zperf_tcp_uploader_init(struct k_fifo *tx_queue);
extern void zperf_tcp_upload(const struct shell *sh,
			     int sock,
			     unsigned int duration_in_ms,
			     unsigned int packet_size,
			     struct zperf_results *results);

extern void connect_ap(char *ssid);

const struct in_addr *zperf_get_default_if_in4_addr(void);
const struct in6_addr *zperf_get_default_if_in6_addr(void);

void zperf_tcp_stopped(void);
void zperf_tcp_started(void);

#endif /* __ZPERF_INTERNAL_H */
```

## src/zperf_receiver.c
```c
/*
 * Copyright (c) 2015 Intel Corporation
 *
 * Licensed under the Apache License, Version 2.0 (the "License");
 * you may not use this file except in compliance with the License.
 * You may obtain a copy of the License at
 *
 *     http://www.apache.org/licenses/LICENSE-2.0
 *
 * Unless required by applicable law or agreed to in writing, software
 * distributed under the License is distributed on an "AS IS" BASIS,
 * WITHOUT WARRANTIES OR CONDITIONS OF ANY KIND, either express or implied.
 * See the License for the specific language governing permissions and
 * limitations under the License.
 */

#include <misc/printk.h>
#include <net/net_core.h>
#include <net/net_socket.h>
#include <net/ip_buf.h>
#include <net/net_ip.h>
#include <sections.h>
#include <toolchain.h>
#include <zephyr.h>

#include "zperf.h"
#include "zperf_internal.h"
#include "shell_utils.h"

#define TAG "[udp.download] "

#define RX_FIBER_STACK_SIZE 1024
#define SESSION_MAX 4

/* Type definition */
enum state {
	STATE_NULL, /* Session has not yet started */
	STATE_ONGOING, /* 1st packet has been received, last packet not yet */
	STATE_LAST_PACKET_RECEIVED, /* Last packet has been received */
	STATE_COMPLETED /* Session completed, stats pkt can be sent if needed */
};

struct session {
	/* Tuple */
	uint16_t port;
	uip_ipaddr_t ip;

	enum state state;

	/* Stat data */
	uint32_t counter;
	uint32_t next_id;
	uint32_t outorder;
	uint32_t error;
	uint64_t length;
	uint32_t start_time;
	uint32_t last_time;
	int32_t jitter;
	int32_t last_transit_time;

	/* Stats packet*/
	struct zperf_server_hdr stat;
};

/* Static data */
static char __noinit __stack zperf_rx_fiber_stack[RX_FIBER_STACK_SIZE];

static struct net_addr in_addr_any = {
#ifdef CONFIG_NETWORKING_WITH_IPV6
	.family = AF_INET6,
	.in6_addr = IN6ADDR_ANY_INIT
#else
	.family = AF_INET, .in_addr = { { { 0 } } }
#endif
};

static struct net_addr in_addr_my = {
#ifdef CONFIG_NETWORKING_WITH_IPV6
	.family = AF_INET6,
	.in6_addr = IN6ADDR_ANY_INIT
#else
	.family = AF_INET, .in_addr = { { { 0 } } }
#endif
};

static struct session sessions[SESSION_MAX];

/* Get session from a given packet */
static struct session *get_session(struct net_buf *buf)
{
	uint16_t port;
	uip_ipaddr_t ip;
	int i = 0;
	struct session *active = NULL;
	struct session *free = NULL;

	/* Get tuple of the remote connection */
	port = NET_BUF_UDP(buf)->srcport;
	uip_ipaddr_copy(&ip, &NET_BUF_IP(buf)->srcipaddr);

	/* Check whether we already have an active session */
	while (active == NULL && i < SESSION_MAX) {
		struct session *ptr = &sessions[i];

		if (ptr->port == port && uip_ipaddr_cmp(&ptr->ip, &ip)) {
			/* We found an active session */
			active = ptr;
		} else if (free == NULL
				&& (ptr->state == STATE_NULL
					|| ptr->state == STATE_COMPLETED)) {
			/* We found a free slot - just in case */
			free = ptr;
		}
		i++;
	}

	/* If no active session then create a new one */
	if (active == NULL && free != NULL) {
		active = free;
		active->port = port;
		uip_ipaddr_copy(&active->ip, &ip);
	}

	return active;
}

/* Send statistic to the remote client */
static int zperf_receiver_send_stat(struct net_context *net_context,
		struct net_buf *buf, zperf_server_hdr *stat)
{
	/* Fill the packet header */
	memcpy(ip_buf_appdata(buf) + sizeof(zperf_udp_datagram), stat,
			sizeof(zperf_server_hdr));

	/* Send the packet */
	return net_reply(net_context, buf);
}

/* RX fiber entry point */
static void zperf_rx_fiber(int port)
{
	struct net_context *net_context = net_context_get(IPPROTO_UDP, &in_addr_any,
			0, &in_addr_my, port);

	if (!net_context) {
		printk(TAG "ERROR! Cannot get network context.\n");
		return;
	}

	while (1) {
		struct net_buf *buf = net_receive(net_context, TICKS_UNLIMITED);

		if (buf == NULL) {
			continue;
		} else if (ip_buf_appdatalen(buf) < sizeof(zperf_udp_datagram)) {
			/* Release the buffer */
			ip_buf_unref(buf);
		} else {
			uint32_t time = sys_cycle_get_32();
			int32_t id;
			int32_t transit_time;

			struct session *session = get_session(buf);

			if (session == NULL) {
				printk(TAG "ERROR! cannot create a session!\n");
				continue;
			}

			zperf_udp_datagram *hdr = (zperf_udp_datagram *) ip_buf_appdata(buf);

			id = z_ntohl(hdr->id);

			/* Check last packet flags */
			if (id < 0) {
				printk(TAG "End of session!\n");
				if (session->state == STATE_COMPLETED) {
					/* Session is already completed: Resend the stat buffer
					 * and continue
					 */
					if (zperf_receiver_send_stat(net_context, buf,
							&session->stat) < 0) {
						printk(TAG "ERROR! Failed to send the buffer\n");

						/* Free the buffer */
						ip_buf_unref(buf);
					}
					continue;
				} else {
					session->state = STATE_LAST_PACKET_RECEIVED;
					id = -id;
				}
			} else if (session->state != STATE_ONGOING) {
				/* Start a new session! */
				printk(TAG "New session started.\n");

				/* Reset statistic */
				session->state = STATE_ONGOING;
				session->counter = 0;
				session->start_time = time;
				session->next_id = 0;
				session->length = 0;
				session->outorder = 0;
				session->error = 0;
				session->jitter = 0;
				session->last_transit_time = 0;
			}

			/* Check header id */
			if (id != session->next_id) {
				if (id < session->next_id) {
					session->outorder++;
				} else {
					session->error += id - session->next_id;
					session->next_id = id + 1;
				}
			} else {
				session->next_id++;
			}

			/* Update counter */
			session->counter++;
			session->length += ip_buf_appdatalen(buf);

			/* Compute jitter */
			transit_time = time_delta(HW_CYCLES_TO_USEC(time),
			z_ntohl(hdr->tv_sec) * USEC_PER_SEC + z_ntohl(hdr->tv_usec));
			if (session->last_transit_time != 0) {
				int32_t delta_transit = transit_time
						- session->last_transit_time;
				delta_transit =
					(delta_transit < 0) ? -delta_transit : delta_transit;
				session->jitter += (delta_transit - session->jitter) / 16;
			}
			session->last_transit_time = transit_time;

			/* If necessary send statistic */
			if (session->state == STATE_LAST_PACKET_RECEIVED) {
				uint32_t rate_in_kbps;
				uint32_t duration = HW_CYCLES_TO_USEC(
						time_delta(session->start_time, time));

				/* Update state machine */
				session->state = STATE_COMPLETED;

				/* Compute baud rate */
				if (duration != 0)
					rate_in_kbps = (uint32_t) (((uint64_t) session->length
							* (uint64_t) 8 * (uint64_t) USEC_PER_SEC)
							/ ((uint64_t) duration * 1024));
				else
					rate_in_kbps = 0;

				/* Fill static */
				session->stat.flags = z_htonl(0x80000000);
				session->stat.total_len1 = z_htonl(session->length >> 32);
				session->stat.total_len2 = z_htonl(
						session->length % 0xFFFFFFFF);
				session->stat.stop_sec = z_htonl(duration / USEC_PER_SEC);
				session->stat.stop_usec = z_htonl(duration % USEC_PER_SEC);
				session->stat.error_cnt = z_htonl(session->error);
				session->stat.outorder_cnt = z_htonl(session->outorder);
				session->stat.datagrams = z_htonl(session->counter);
				session->stat.jitter1 = 0;
				session->stat.jitter2 = z_htonl(session->jitter);

				if (zperf_receiver_send_stat(net_context, buf, &session->stat)
						< 0) {
					printk(TAG "ERROR! Failed to send the buffer\n");

					/* Free the buffer */
					ip_buf_unref(buf);
				}

				printk(TAG " duration:\t\t");
				print_number(duration, TIME_US, TIME_US_UNIT);
				printk("\n");

				printk(TAG " received packets:\t%u\n", session->counter);
				printk(TAG " nb packets lost:\t%u\n", session->outorder);
				printk(TAG " nb packets outorder:\t%u\n", session->error);

				printk(TAG " jitter:\t\t\t");
				print_number(session->jitter, TIME_US, TIME_US_UNIT);
				printk("\n");

				printk(TAG " rate:\t\t\t");
				print_number(rate_in_kbps, KBPS, KBPS_UNIT);
				printk("\n");
			} else {
				/* Free the buffer */
				ip_buf_unref(buf);
			}
		}
	}
}

void zperf_receiver_init(int port)
{
	for (int i = 0; i < SESSION_MAX; i++)
		sessions[i].state = STATE_NULL;

	fiber_start(zperf_rx_fiber_stack, sizeof(zperf_rx_fiber_stack),
			(nano_fiber_entry_t) zperf_rx_fiber, port, 0, 7, 0);
}
```
